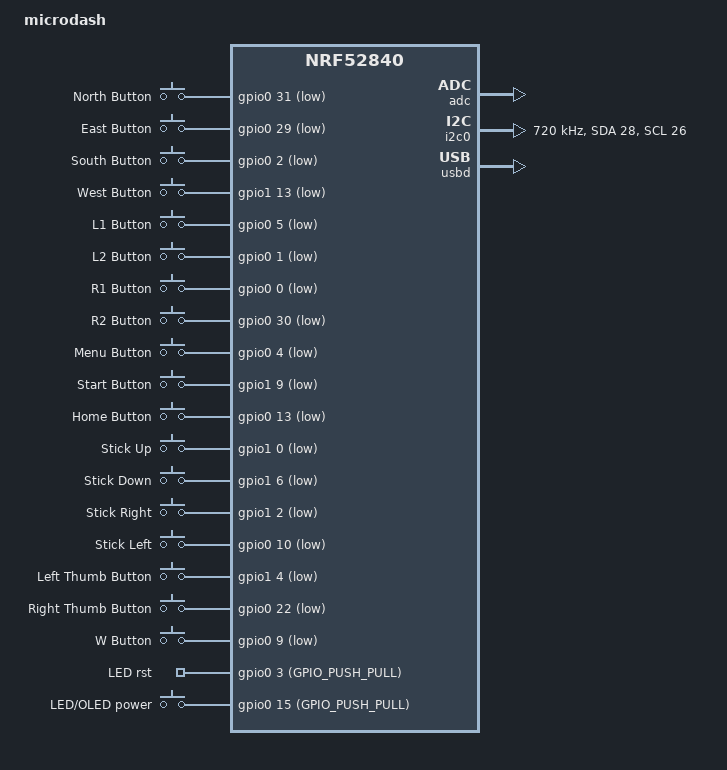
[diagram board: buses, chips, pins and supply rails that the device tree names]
/dts-v1/;
#include <nordic/nrf52840_qiaa.dtsi>

/ {
  model = "microdash";
  compatible = "nordic,nrf52840-qiaa", "nordic,nrf52840";

  aliases {
    display-i2c = &i2c0;
    led-i2c = &i2c0;
  };

  chosen {
    zephyr,sram = &sram0;
    zephyr,flash = &flash0;
    zephyr,code-partition = &slot0_partition;
    mcuboot,sram_warmboot = &sram1;
  };

  soc {
    sram0: memory@20000000 {
      compatible = "mmio-sram";
      reg = <0x20000000 0x3fff8>;
    };

    sram1: memory@2003fff8 {
      compatible = "mmio-sram";
      reg = <0x2003fff8 8>;
    };
  };

  gpio_keys {
    compatible = "gpio-keys";

    button_north {
      gpios = <&gpio0 31 (GPIO_PULL_UP | GPIO_ACTIVE_LOW)>;
      label = "North Button";
    };

    button_east {
      gpios = <&gpio0 29 (GPIO_PULL_UP | GPIO_ACTIVE_LOW)>;
      label = "East Button";
    };

    button_south {
      gpios = <&gpio0 2 (GPIO_PULL_UP | GPIO_ACTIVE_LOW)>;
      label = "South Button";
    };

    button_west {
      gpios = <&gpio1 13 (GPIO_PULL_UP | GPIO_ACTIVE_LOW)>;
      label = "West Button";
    };

    button_l1 {
      gpios = <&gpio0 5 (GPIO_PULL_UP | GPIO_ACTIVE_LOW)>;
      label = "L1 Button";
    };

    button_l2 {
      gpios = <&gpio0 1 (GPIO_PULL_UP | GPIO_ACTIVE_LOW)>;
      label = "L2 Button";
    };

    button_r1 {
      gpios = <&gpio0 0 (GPIO_PULL_UP | GPIO_ACTIVE_LOW)>;
      label = "R1 Button";
    };

    button_r2 {
      gpios = <&gpio0 30 (GPIO_PULL_UP | GPIO_ACTIVE_LOW)>;
      label = "R2 Button";
    };

    button_menu {
      gpios = <&gpio0 4 (GPIO_PULL_UP | GPIO_ACTIVE_LOW)>;
      label = "Menu Button";
    };

    button_start {
      gpios = <&gpio1 9 (GPIO_PULL_UP | GPIO_ACTIVE_LOW)>;
      label = "Start Button";
    };

    button_home {
      gpios = <&gpio0 13 (GPIO_PULL_UP | GPIO_ACTIVE_LOW)>;
      label = "Home Button";
    };

    stick_up {
      gpios = <&gpio1 0 (GPIO_PULL_UP | GPIO_ACTIVE_LOW)>;
      label = "Stick Up";
    };

    stick_down {
      gpios = <&gpio1 6 (GPIO_PULL_UP | GPIO_ACTIVE_LOW)>;
      label = "Stick Down";
    };

    stick_right {
      gpios = <&gpio1 2 (GPIO_PULL_UP | GPIO_ACTIVE_LOW)>;
      label = "Stick Right";
    };

    stick_left {
      gpios = <&gpio0 10 (GPIO_PULL_UP | GPIO_ACTIVE_LOW)>;
      label = "Stick Left";
    };

    button_thumb_left {
      gpios = <&gpio1 4 (GPIO_PULL_UP | GPIO_ACTIVE_LOW)>;
      label = "Left Thumb Button";
    };

    button_thumb_right {
      gpios = <&gpio0 22 (GPIO_PULL_UP | GPIO_ACTIVE_LOW)>;
      label = "Right Thumb Button";
    };

    button_w {
      gpios = <&gpio0 9 (GPIO_PULL_UP | GPIO_ACTIVE_LOW)>;
      label = "W Button";
    };

    led_rst {
      gpios = <&gpio0 3 (GPIO_PUSH_PULL)>;
      label = "LED rst";
    };

    led_power {
      gpios = <&gpio0 15 (GPIO_PUSH_PULL)>;
      label = "LED/OLED power";
    };
  };
};

&adc {
  status = "okay";
};

&gpiote {
  status = "okay";
};

&gpio0 {
  status = "okay";
};

&gpio1 {
  status = "okay";
};

&i2c0 {
  compatible = "nordic,nrf-twim";
  status = "okay";

  zephyr,concat-buf-size = <2048>;
  clock-frequency = <720000>;
  scl-pin = <26>;
  sda-pin = <28>;
};

&usbd {
  compatible = "nordic,nrf-usbd";
  status = "okay";
};

#include "pl_nrf_partitions.dtsi"
